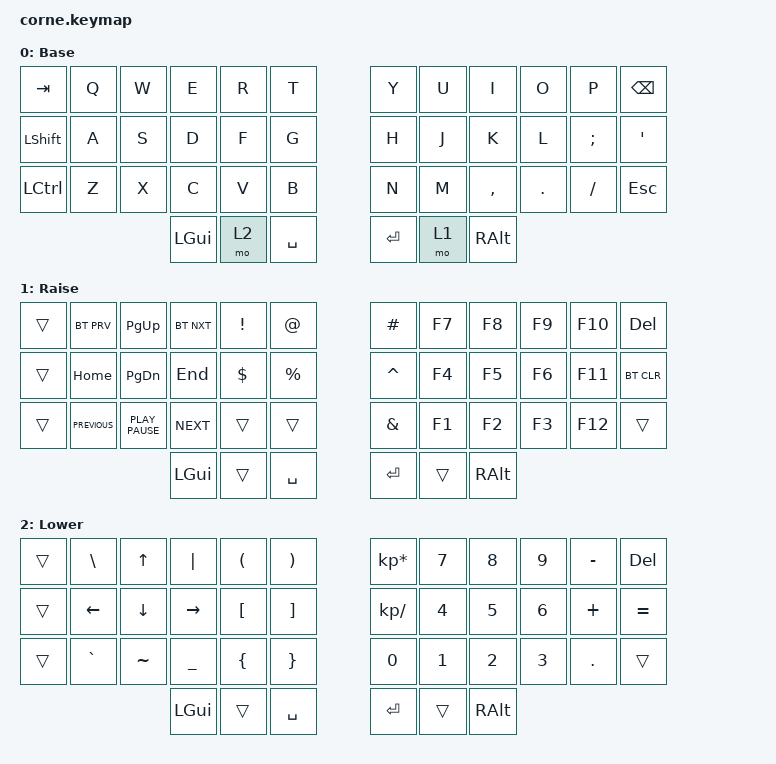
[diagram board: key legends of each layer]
/*
 * Copyright (c) 2020 The ZMK Contributors
 *
 * SPDX-License-Identifier: MIT
 */

#include <behaviors.dtsi>
#include <dt-bindings/zmk/bt.h>
#include <dt-bindings/zmk/keys.h>

/ {
    keymap {
        compatible = "zmk,keymap";

        default_layer {
            // -----------------------------------------------------------------------------------------
            // |  TAB |  Q  |  W  |  E  |  R  |  T  |   |  Y  |  U   |  I  |  O  |  P  | BKSP |
            // | CTRL |  A  |  S  |  D  |  F  |  G  |   |  H  |  J   |  K  |  L  |  ;  |  '   |
            // | SHFT |  Z  |  X  |  C  |  V  |  B  |   |  N  |  M   |  ,  |  .  |  /  | ESC  |
            //                    | GUI | LWR | SPC |   | ENT | RSE  | ALT |

            display-name = "Base";
            bindings = <
&kp TAB         &kp Q  &kp W  &kp E         &kp R  &kp T        &kp Y    &kp U  &kp I      &kp O    &kp P          &kp BSPC
&kp LEFT_SHIFT  &kp A  &kp S  &kp D         &kp F  &kp G        &kp H    &kp J  &kp K      &kp L    &kp SEMICOLON  &kp SQT
&kp LCTRL       &kp Z  &kp X  &kp C         &kp V  &kp B        &kp N    &kp M  &kp COMMA  &kp DOT  &kp FSLH       &kp ESCAPE
                              &kp LEFT_GUI  &mo 2  &kp SPACE    &kp RET  &mo 1  &kp RALT
            >;
        };

        raise_layer {
            // -----------------------------------------------------------------------------------------
            // |  TAB |  !  |  @  |  #  |  $  |  %  |   |  ^  |  &  |  *  |  (  |  )  | BKSP |
            // | CTRL |     |     |     |     |     |   |  -  |  =  |  [  |  ]  |  \  |  `   |
            // | SHFT |     |     |     |     |     |   |  _  |  +  |  {  |  }  | "|" |  ~   |
            //                    | GUI |     | SPC |   | ENT |     | ALT |

            display-name = "Raise";
            bindings = <
&trans  &bt BT_PRV      &kp PAGE_UP       &bt BT_NXT  &kp EXCL  &kp AT       &kp HASH   &kp F7  &kp F8    &kp F9  &kp F10  &kp DELETE
&trans  &kp HOME        &kp PAGE_DOWN     &kp END     &kp DLLR  &kp PRCNT    &kp CARET  &kp F4  &kp F5    &kp F6  &kp F11  &bt BT_CLR
&trans  &kp K_PREVIOUS  &kp K_PLAY_PAUSE  &kp K_NEXT  &trans    &trans       &kp AMPS   &kp F1  &kp F2    &kp F3  &kp F12  &trans
                                          &kp LGUI    &trans    &kp SPACE    &kp RET    &trans  &kp RALT
            >;
        };

        lower_layer {
            // -----------------------------------------------------------------------------------------
            // |  TAB |  1  |  2  |  3  |  4  |  5  |   |  6  |  7  |  8  |  9  |  0  | BKSP |
            // | BTCLR| BT1 | BT2 | BT3 | BT4 | BT5 |   | LFT | DWN |  UP | RGT |     |      |
            // | SHFT |     |     |     |     |     |   |     |     |     |     |     |      |
            //                    | GUI |     | SPC |   | ENT |     | ALT |

            display-name = "Lower";
            bindings = <
&trans  &kp BACKSLASH  &kp UP_ARROW  &kp PIPE        &kp LEFT_PARENTHESIS  &kp RIGHT_PARENTHESIS    &kp KP_MULTIPLY  &kp N7        &kp N8        &kp N9        &kp MINUS  &kp DELETE
&trans  &kp LEFT       &kp DOWN      &kp RIGHT       &kp LEFT_BRACKET      &kp RIGHT_BRACKET        &kp KP_DIVIDE    &kp NUMBER_4  &kp N5        &kp NUMBER_6  &kp PLUS   &kp EQUAL
&trans  &kp GRAVE      &kp TILDE     &kp UNDERSCORE  &kp LEFT_BRACE        &kp RIGHT_BRACE          &kp N0           &kp NUMBER_1  &kp NUMBER_2  &kp NUMBER_3  &kp DOT    &trans
                                     &kp LGUI        &trans                &kp SPACE                &kp RET          &trans        &kp RALT
            >;
        };
    };
};
